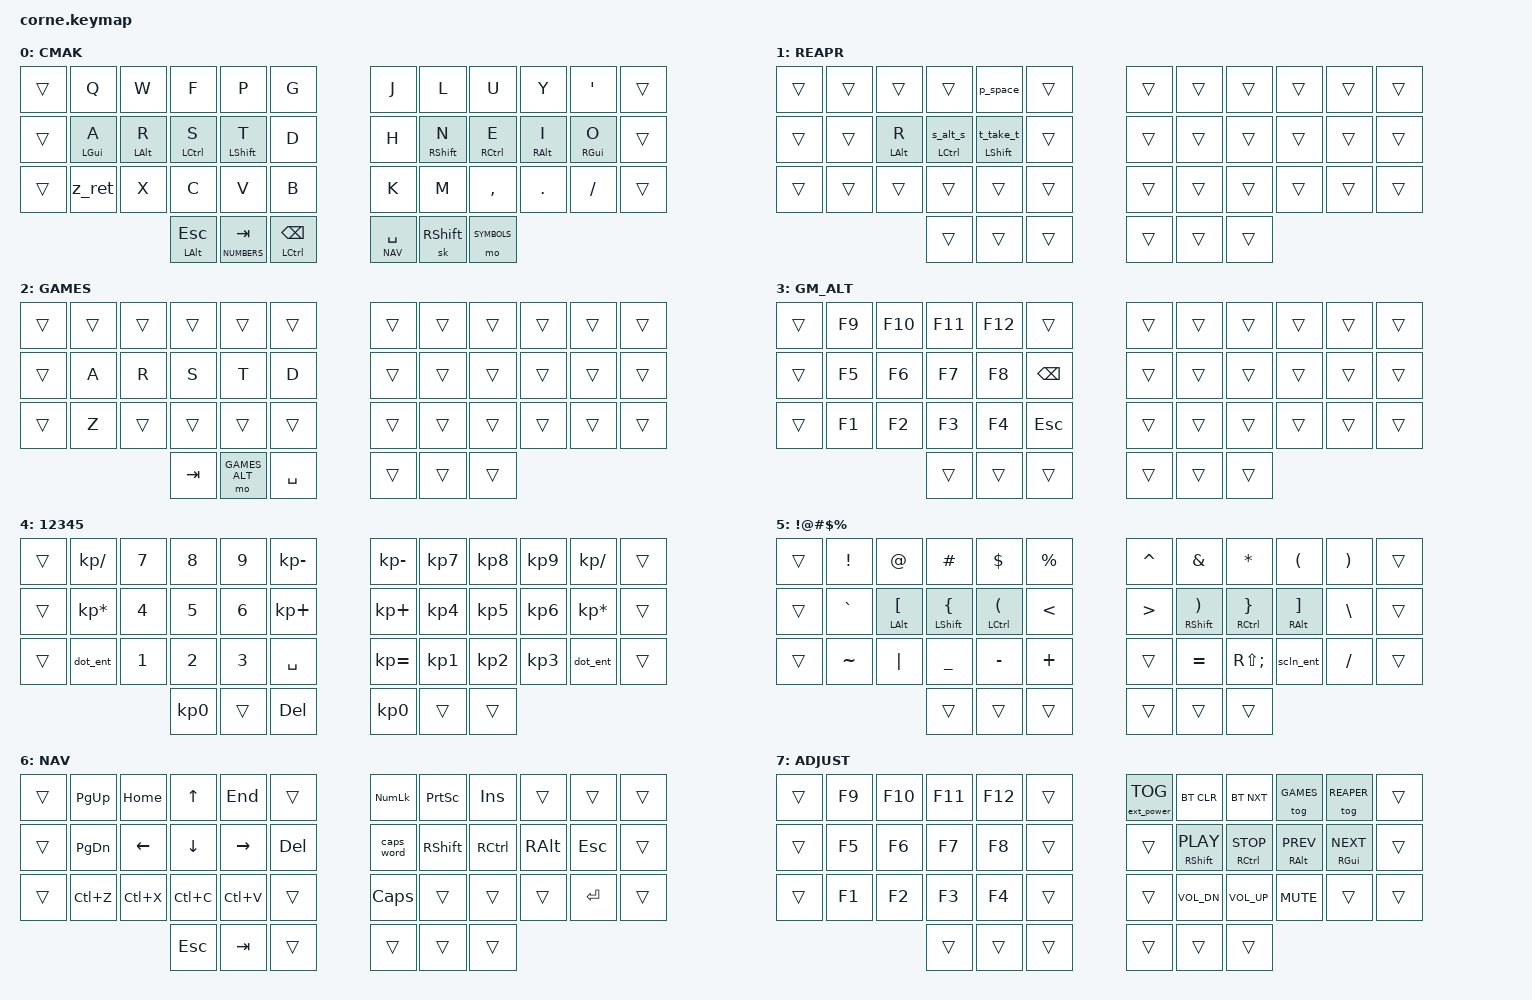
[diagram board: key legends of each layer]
/*
 * Copyright (c) 2020 The ZMK Contributors
 *
 * SPDX-License-Identifier: MIT
 */

#include <behaviors.dtsi>
#include <dt-bindings/zmk/keys.h>
#include <dt-bindings/zmk/bt.h>
#include <dt-bindings/zmk/ext_power.h>
#include "../../../zmk-nodefree-config/helper.h"
#include "../../../zmk-nodefree-config/keypos_def/keypos_42keys.h"   


#define COLEMAK   0
#define REAPER 1
#define GAMES 2
#define GAMES_ALT 3
#define NUMBERS  4
#define SYMBOLS  5 
#define NAV    6
#define ADJUST 7

#define QUICK_TAP_MS 175


&mt {
    flavor = "tap-preferred";
    tapping-term-ms = <220>;
    quick-tap-ms = <220>;              // repeat on tap-into-hold
    hold-trigger-key-positions = <0>;  // tap on interrupt
};
&sk {  // sticky-key config
    release-after-ms = <600>;  // release after 0.6s
    quick-release;             // no double capitalization when rolling keys
};

&sl {  // sticky-layer config
    ignore-modifiers;
};

&lt {  // layer-tap config
    flavor = "balanced";
    tapping-term-ms = <200>;
    quick-tap-ms = <QUICK_TAP_MS>;
};

&caps_word {  // mods deactivate caps-word, requires PR #1441
    /delete-property/ ignore-modifiers;
};


/* Homerow mods */

#define KEYS_L LT0 LT1 LT2 LT3 LT4 LT5 LM0 LM1 LM2 LM3 LM4 LM5 LB0 LB1 LB2 LB3 LB4 LB5  // left-hand keys
#define KEYS_R RT0 RT1 RT2 RT3 RT4 RT5 RM0 RM1 RM2 RM3 RM4 RM5 RB0 RB1 RB2 RB3 RB4 RB5  // right-hand keys
#define THUMBS LH2 LH1 LH0 RH0 RH1 RH2                                      // thumb keys

ZMK_BEHAVIOR(hml, hold_tap,  // left-hand HRMs
    flavor = "balanced";
    tapping-term-ms = <180>;
    quick-tap-ms = <QUICK_TAP_MS>;
    global-quick-tap-ms = <120>;        // requires PR #1387
    bindings = <&kp>, <&kp>;
    hold-trigger-key-positions = <KEYS_R THUMBS>;
    hold-trigger-on-release;            // requires PR #1423
)

ZMK_BEHAVIOR(hmr, hold_tap,  // right-hand HRMs
    flavor = "balanced";
    tapping-term-ms = <280>;
    quick-tap-ms = <QUICK_TAP_MS>;
    global-quick-tap-ms = <150>;        // requires PR #1387
    bindings = <&kp>, <&kp>;
    hold-trigger-key-positions = <KEYS_L THUMBS>;
    hold-trigger-on-release;            // requires PR #1423
)

ZMK_BEHAVIOR(ss_cw, mod_morph,
    bindings = <&sk RSHFT>, <&caps_word>;
    mods = <(MOD_LSFT)>;
)
/*
ZMK_BEHAVIOR(scln_dt, mod_morph,
    bindings = <&kp DOT>, <&kp LT>;
    mods = <(MOD_RSFT|MOD_LSFT)>;
)
ZMK_BEHAVIOR(cln_cm, mod_morph,
    bindings = <&kp COMMA>, <&kp GT>;
    mods = <(MOD_RSFT|MOD_LSFT)>;
)
*/

// use global-quick-tap-ms for combos (requires PR 1387)
#undef COMBO_HOOK
#define COMBO_HOOK global-quick-tap-ms = <75>;

#define COMBO_TERM_FAST 20
#define COMBO_TERM_SLOW 35
ZMK_COMBO(lgui,  &kp LGUI,      LH2 LH1,     COLEMAK, COMBO_TERM_FAST)
/* Brackets (horizontal right hand) */
ZMK_COMBO(dcbr,  &dbl_cbr,      RT0 RT1,     COLEMAK NUMBERS, COMBO_TERM_FAST)
ZMK_COMBO(dpar,  &dbl_paren,    RM0 RM1,     COLEMAK NUMBERS, COMBO_TERM_FAST)
ZMK_COMBO(dbkt,  &dbl_bkt,      RB0 RB1,     COLEMAK NUMBERS, COMBO_TERM_FAST)
//ZMK_COMBO(dlt,  &dbl_ltgt,      RM1 RM2,     COLEMAK NUMBERS, COMBO_TERM_FAST)

/* Other symbols (vertical combos) */
ZMK_COMBO(exclm, &kp EXCL,      LT4 LM4,     COLEMAK REAPER GAMES, COMBO_TERM_SLOW)
ZMK_COMBO(at,    &kp AT,        LT3 LM3,     COLEMAK REAPER GAMES, COMBO_TERM_SLOW)
ZMK_COMBO(hash,  &kp HASH,      LT2 LM2,     COLEMAK REAPER GAMES, COMBO_TERM_SLOW)
ZMK_COMBO(dllr,  &kp DLLR,      LT1 LM1,     COLEMAK REAPER GAMES, COMBO_TERM_SLOW)
ZMK_COMBO(prcnt, &kp PRCNT,     LT0 LM0,     COLEMAK REAPER GAMES, COMBO_TERM_SLOW)

ZMK_COMBO(caret, &kp CARET,     RT0 RM0,     COLEMAK REAPER GAMES, COMBO_TERM_SLOW)
ZMK_COMBO(amps,  &kp AMPS,      RT1 RM1,     COLEMAK REAPER GAMES, COMBO_TERM_SLOW)
ZMK_COMBO(star,  &kp STAR,      RT2 RM2,     COLEMAK REAPER GAMES, COMBO_TERM_SLOW)

ZMK_COMBO(tilde, &kp TILDE,     LM4 LB4,     COLEMAK REAPER GAMES, COMBO_TERM_SLOW)
ZMK_COMBO(grave, &kp GRAVE,     LM3 LB3,     COLEMAK REAPER GAMES, COMBO_TERM_SLOW)
ZMK_COMBO(under, &kp UNDER,     LM2 LB2,     COLEMAK REAPER GAMES, COMBO_TERM_SLOW)
ZMK_COMBO(minus, &kp MINUS,     LM1 LB1,     COLEMAK REAPER GAMES, COMBO_TERM_SLOW)
ZMK_COMBO(plus, &kp PLUS,       LM0 LB0,     COLEMAK REAPER GAMES, COMBO_TERM_SLOW)

ZMK_COMBO(pipe,  &kp PIPE,      RM0 RB0,     COLEMAK REAPER GAMES, COMBO_TERM_SLOW)
ZMK_COMBO(equal, &kp EQUAL,     RM1 RB1,     COLEMAK REAPER GAMES, COMBO_TERM_SLOW)
ZMK_COMBO(lt, &kp RS(SEMI),           RM2 RB2,     COLEMAK REAPER GAMES, COMBO_TERM_SLOW)
ZMK_COMBO(gt, &kp SEMI,         RM3 RB3,     COLEMAK REAPER GAMES, COMBO_TERM_SLOW)

ZMK_COMBO(squot,  &kp SQT, RM3 RT3,     COLEMAK REAPER GAMES, COMBO_TERM_SLOW)
ZMK_COMBO(dquot,  &kp RS(SQT), RM4 RT4,     COLEMAK REAPER GAMES, COMBO_TERM_SLOW)
ZMK_COMBO(scln_ent,  &scln_ret, RM4 RB4,     COLEMAK REAPER GAMES, COMBO_TERM_SLOW)
ZMK_COMBO(nav_ret,  &kp RET, RH0 RB4,     COLEMAK NUMBERS SYMBOLS NAV REAPER GAMES, COMBO_TERM_SLOW)
ZMK_COMBO(nav_ret2,  &kp RET, RH0 RM4,    COLEMAK NUMBERS SYMBOLS NAV REAPER GAMES, COMBO_TERM_SLOW)
ZMK_COMBO(bkspc_ret,  &kp RET, LH0 LM4,    COLEMAK REAPER GAMES, COMBO_TERM_SLOW)
ZMK_COMBO(rh_adj,  &mo ADJUST, RH0 RH1,    COLEMAK REAPER GAMES NAV, COMBO_TERM_FAST)
ZMK_COMBO(lh_del,  &kp DEL, LH0 LH1,    COLEMAK NAV REAPER GAMES, COMBO_TERM_FAST)
ZMK_COMBO(cw_trigger,  &caps_word, RH1 RM1,    COLEMAK REAPER GAMES, COMBO_TERM_FAST)

/ {
    behaviors {

        hhm: hold_homerow_mods {
            compatible = "zmk,behavior-hold-tap";
            label = "HOLD_HOMEROW_MODS";
            #binding-cells = <2>;
            tapping-term-ms = <200>;
            quick_tap_ms = <150>;
            flavor = "hold-preferred";
            bindings = <&kp>, <&kp>;
        };
        
        TAB_NUMBERS: tap_dance_0 {
            compatible = "zmk,behavior-tap-dance";
            label = "TAP_DANCE_0";
            #binding-cells = <0>;
            tapping-term-ms = <200>;
            bindings = <&mo NUMBERS>, <&kp TAB>;
        };
        slash_ret: tap_dance_1 {
            compatible = "zmk,behavior-tap-dance";
            label = "TAP_DANCE_1";
            #binding-cells = <0>;
            tapping-term-ms = <200>;
            bindings = <&kp FSLH>, <&kp RET>;
        };
        
        p_space: tap_dance_4 {
            compatible = "zmk,behavior-tap-dance";
            label = "TAP_DANCE_4";
            #binding-cells = <0>;
            tapping-term-ms = <200>;
            bindings = <&kp P>, <&kp SPACE>;
        };
        s_alt_s: tap_dance_5 {
            compatible = "zmk,behavior-tap-dance";
            label = "tap_dance_5";
            #binding-cells = <0>;
            tapping-term-ms = <200>;
            bindings = <&kp S>, <&s_alt_s_macro>;
        };
        
        t_take_t: tap_dance_6 {
            compatible = "zmk,behavior-tap-dance";
            label = "tap_dance_6";
            #binding-cells = <0>;
            tapping-term-ms = <200>;
            bindings = <&kp T>, <&t_take_macro>;
        };
        hmtake: hold_macro_mods1 {
            compatible = "zmk,behavior-hold-tap";
            label = "hold_macro_mods1";
            #binding-cells = <2>;
            tapping-term-ms = <200>;
            quick_tap_ms = <150>;
            flavor = "hold-preferred";
            bindings = <&kp>, <&t_take_t>;
        };
        htms: hold_macro_mods2 {
            compatible = "zmk,behavior-hold-tap";
            label = "hold_macro_mods2";
            #binding-cells = <2>;
            tapping-term-ms = <200>;
            quick_tap_ms = <150>;
            flavor = "hold-preferred";
            bindings = <&kp>, <&s_alt_s>;
        };
         
        dot_ent: tap_dance_7 {
            compatible = "zmk,behavior-tap-dance";
            label = "TAP_DANCE_7";
            #binding-cells = <0>;
            tapping-term-ms = <200>;
            bindings = <&kp DOT>, <&kp ENTER>;
        };
        tm: thumb_mods {
            compatible = "zmk,behavior-hold-tap";
            label = "HOMEROW_MODS";
            #binding-cells = <2>;
            tapping-term-ms = <150>;
            quick-tap-ms = <150>;
            flavor = "tap-preferred";
            bindings = <&mo>, <&kp>;
        };
        scln_ent: tap_dance_8 {
            compatible = "zmk,behavior-tap-dance";
            label = "TAP_DANCE_8";
            #binding-cells = <0>;
            tapping-term-ms = <200>;
            bindings = <&kp SEMI>, <&scln_ret>;
        };
        z_ret: tap_dance_9 {
            compatible = "zmk,behavior-tap-dance";
            label = "TAP_DANCE_9";
            #binding-cells = <0>;
            tapping-term-ms = <200>;
            bindings = <&kp Z>, <&kp RET>;
        };
    };

    macros {
        scln_ret: scln_ret {
            label = "ZM_scln_ret";
            compatible = "zmk,behavior-macro";
            #binding-cells = <0>;
            bindings
                = <&macro_tap &kp SEMI &kp RET>;
        };
        t_take_macro: t_take_macro {
            label = "ZM_t_take_macro";
            compatible = "zmk,behavior-macro";
            #binding-cells = <0>;
            bindings
                = <&macro_press &kp LSHFT>,
                <&macro_press &kp LALT>,
                <&macro_tap &kp T>,
                <&macro_release &kp LALT>,
                <&macro_release &kp LSHFT>
                ;
        };
        s_alt_s_macro: s_alt_s_macro {
            label = "ZM_s_alt_s_macro";
            compatible = "zmk,behavior-macro";
            #binding-cells = <0>;
            bindings
                = 
                <&macro_press &kp LALT>,
                <&macro_tap &kp S>,
                <&macro_release &kp LALT>
                ;
        };
        dbl_paren: dbl_paren {
            label = "ZM_dbl_paren_macro";
            compatible = "zmk,behavior-macro";
            #binding-cells = <0>;
            bindings
                = 
                <&macro_tap &kp LPAR &kp RPAR &kp LEFT>
                ;
        };
        dbl_cbr: dbl_cbr {
            label = "ZM_dbl_cbr_macro";
            compatible = "zmk,behavior-macro";
            #binding-cells = <0>;
            bindings
                = 
                <&macro_tap &kp LBRC &kp RBRC &kp LEFT>
                ;
        };
        dbl_bkt: dbl_bkt {
            label = "ZM_dbl_bkt_macro";
            compatible = "zmk,behavior-macro";
            #binding-cells = <0>;
            bindings
                = 
                <&macro_tap &kp LBKT &kp RBKT &kp LEFT>
                
                ;
        };
        dbl_ltgt: dbl_ltgt {
            label = "ZM_dbl_ltgt_macro";
            compatible = "zmk,behavior-macro";
            #binding-cells = <0>;
            bindings
                = 
                <&macro_tap &kp LT &kp GT &kp LEFT>
                ;
        };
    };


/*
    conditional_layers {
        compatible = "zmk,conditional-layers";
        tri_layer {
            if-layers = <NUMBERS SYMBOLS>;
            then-layer = <ADJUST>;
        };
    };
*/
        keymap {
                compatible = "zmk,keymap";

                colemak_layer {
// ┌───────────────────────────────────────────────────────────┐
label= "CMAK"                                                  ;
// └───────────────────────────────────────────────────────────┘                                                 ;

   bindings = <
 //╷         ╷         ╷         ╷         ╷         ╷         ╷         ╷╷         ╷         ╷         ╷         ╷         ╷         ╷         ╷
    &trans &kp Q     &kp W     &kp F     &kp P     &kp G                &kp J     &kp L     &kp U     &kp Y     &kp SQT   &trans   
    &trans &hml LGUI A &hml LALT  R   &hml LCTL S  &hml LSHFT T &kp D   &kp H  &hmr RSHFT N &hmr RCTL E  &hmr RALT I  &hmr RGUI O   &trans   
    &trans &z_ret     &kp X     &kp C     &kp V     &kp B                &kp K     &kp M   &kp COMMA  &kp DOT  &kp FSLH  &trans 
                        &hhm LALT ESC   &lt NUMBERS TAB   &hhm LCTRL BKSP      &tm NAV SPC  &sk RSHFT &mo SYMBOLS
                        >;
                };
// ▄▄▄▄▄▄▄▄▄▄▄▄▄▄▄▄▄▄▄▄▄▄▄▄▄▄▄▄▄▄▄▄▄▄▄▄▄▄▄▄▄▄▄▄▄▄▄▄▄▄▄▄▄▄▄▄▄▄▄▄▄▄▄▄▄▄▄▄▄▄▄▄▄▄▄▄▄▄▄▄▄▄▄▄▄▄▄▄▄▄▄▄▄▄▄▄▄▄▄▄▄▄▄▄▄▄▄▄▄▄▄▄▄▄▄▄▄▄▄▄▄▄▄▄▄▄▄▄▄▄▄▄▄▄▄▄▄▄▄▄▄▄
                reaper_layer {
// ┌───────────────────────────────────────────────────────────┐
label= "REAPR"                                                  ;
// └───────────────────────────────────────────────────────────┘

 bindings = <
 //╷         ╷         ╷         ╷         ╷         ╷         ╷         ╷╷         ╷         ╷         ╷         ╷         ╷         ╷         ╷
&trans &trans   &trans  &trans    &p_space   &trans                         &trans     &trans     &trans     &trans     &trans &trans 
&trans &trans   &hhm LALT R  &htms LCTL 0  &hmtake LSHFT 0  &trans                         &trans    &trans     &trans     &trans     &trans &trans 
&trans &trans   &trans  &trans    &trans     &trans                         &trans     &trans     &trans &trans   &trans &trans 
                            &trans   &trans   &trans                        &trans   &trans &trans    
                        >;
                };
// ▄▄▄▄▄▄▄▄▄▄▄▄▄▄▄▄▄▄▄▄▄▄▄▄▄▄▄▄▄▄▄▄▄▄▄▄▄▄▄▄▄▄▄▄▄▄▄▄▄▄▄▄▄▄▄▄▄▄▄▄▄▄▄▄▄▄▄▄▄▄▄▄▄▄▄▄▄▄▄▄▄▄▄▄▄▄▄▄▄▄▄▄▄▄▄▄▄▄▄▄▄▄▄▄▄▄▄▄▄▄▄▄▄▄▄▄▄▄▄▄▄▄▄▄▄▄▄▄▄▄▄▄▄▄▄▄▄▄▄▄▄▄

                games_layer {
// ┌───────────────────────────────────────────────────────────┐
label= "GAMES"                                                  ;
// └───────────────────────────────────────────────────────────┘

 bindings = <
 //╷         ╷         ╷         ╷         ╷         ╷         ╷         ╷╷         ╷         ╷         ╷         ╷         ╷         ╷         ╷
&trans &trans   &trans   &trans    &trans    &trans                    &trans     &trans     &trans     &trans     &trans &trans 
&trans &kp A   &kp R    &kp S       &kp T    &kp D                      &trans    &trans     &trans     &trans     &trans &trans 
&trans &kp Z   &trans  &trans     &trans     &trans                     &trans     &trans     &trans &trans   &trans &trans 
                            &kp TAB   &mo GAMES_ALT   &kp SPACE                 &trans   &trans &trans    
                        >;
                };
// ▄▄▄▄▄▄▄▄▄▄▄▄▄▄▄▄▄▄▄▄▄▄▄▄▄▄▄▄▄▄▄▄▄▄▄▄▄▄▄▄▄▄▄▄▄▄▄▄▄▄▄▄▄▄▄▄▄▄▄▄▄▄▄▄▄▄▄▄▄▄▄▄▄▄▄▄▄▄▄▄▄▄▄▄▄▄▄▄▄▄▄▄▄▄▄▄▄▄▄▄▄▄▄▄▄▄▄▄▄▄▄▄▄▄▄▄▄▄▄▄▄▄▄▄▄▄▄▄▄▄▄▄▄▄▄▄▄▄▄▄▄▄
                games_alt_layer {
// ┌───────────────────────────────────────────────────────────┐
label= "GM_ALT"                                                  ;
// └───────────────────────────────────────────────────────────┘

 bindings = <
 //╷         ╷         ╷         ╷         ╷         ╷         ╷         ╷╷         ╷         ╷         ╷         ╷         ╷         ╷         ╷
&trans &kp F9      &kp F10   &kp F11   &kp F12     &trans                     &trans     &trans     &trans     &trans     &trans &trans 
&trans &kp F5      &kp F6   &kp F7   &kp F8     &kp BKSP                        &trans    &trans     &trans     &trans     &trans &trans 
&trans &kp F1    &kp F2   &kp F3   &kp F4     &kp ESC                     &trans     &trans     &trans &trans   &trans &trans 
                            &trans   &trans   &trans                 &trans   &trans &trans    
                        >;
                };
// ▄▄▄▄▄▄▄▄▄▄▄▄▄▄▄▄▄▄▄▄▄▄▄▄▄▄▄▄▄▄▄▄▄▄▄▄▄▄▄▄▄▄▄▄▄▄▄▄▄▄▄▄▄▄▄▄▄▄▄▄▄▄▄▄▄▄▄▄▄▄▄▄▄▄▄▄▄▄▄▄▄▄▄▄▄▄▄▄▄▄▄▄▄▄▄▄▄▄▄▄▄▄▄▄▄▄▄▄▄▄▄▄▄▄▄▄▄▄▄▄▄▄▄▄▄▄▄▄▄▄▄▄▄▄▄▄▄▄▄▄▄▄
                number_layer {
// ┌───────────────────────────────────────────────────────────┐
label= "12345"                                                 ;
// └───────────────────────────────────────────────────────────┘
 bindings = <
 //╷         ╷         ╷         ╷         ╷         ╷         ╷         ╷╷         ╷         ╷         ╷         ╷         ╷         ╷         ╷
 &trans   &kp KP_DIVIDE &kp N7 &kp N8 &kp N9  &kp KP_MINUS       &kp KP_MINUS  &kp KP_N7 &kp KP_N8 &kp KP_N9 &kp KP_DIVIDE &trans 
 &trans   &kp KP_MULTIPLY    &kp N4 &kp N5 &kp N6 &kp KP_PLUS    &kp KP_PLUS  &kp KP_N4 &kp KP_N5 &kp KP_N6 &kp KP_MULTIPLY &trans 
 &trans   &dot_ent   &kp N1 &kp N2 &kp N3 &kp SPACE            &kp KP_EQUAL  &kp KP_N1 &kp KP_N2 &kp KP_N3 &dot_ent &trans 
                                  &kp KP_N0  &trans &kp DEL          &kp KP_N0 &trans &trans  
                        >;
                };

// ▄▄▄▄▄▄▄▄▄▄▄▄▄▄▄▄▄▄▄▄▄▄▄▄▄▄▄▄▄▄▄▄▄▄▄▄▄▄▄▄▄▄▄▄▄▄▄▄▄▄▄▄▄▄▄▄▄▄▄▄▄▄▄▄▄▄▄▄▄▄▄▄▄▄▄▄▄▄▄▄▄▄▄▄▄▄▄▄▄▄▄▄▄▄▄▄▄▄▄▄▄▄▄▄▄▄▄▄▄▄▄▄▄▄▄▄▄▄▄▄▄▄▄▄▄


                symbol_layer {
// ┌───────────────────────────────────────────────────────────┐
label= "!@#$%"                                                 ;
// └───────────────────────────────────────────────────────────┘
 bindings = <
 //╷         ╷         ╷         ╷         ╷         ╷         ╷         ╷╷         ╷         ╷         ╷         ╷         ╷         ╷         ╷
 &trans     &kp EXCL   &kp AT   &kp HASH  &kp DLLR  &kp PRCNT                      &kp CARET &kp AMPS  &kp STAR  &kp LPAR    &kp RPAR      &trans 
 &trans    &kp GRAVE   &hml LALT LBKT &hml LSHFT LBRC &hml LCTL LPRN  &kp LT  &kp GT &hmr RSHFT RPRN  &hmr RCTL RBRC  &hmr RALT RBKT   &kp BSLH  &trans 
 &trans    &kp TILDE  &kp PIPE &kp UNDER  &kp MINUS  &kp PLUS                  &trans  &kp EQUAL &kp RS(SEMI)  &scln_ent  &kp FSLH    &trans 
                                   &trans   &trans   &trans                         &trans    &trans    &trans  
                        >;
                };

// ▄▄▄▄▄▄▄▄▄▄▄▄▄▄▄▄▄▄▄▄▄▄▄▄▄▄▄▄▄▄▄▄▄▄▄▄▄▄▄▄▄▄▄▄▄▄▄▄▄▄▄▄▄▄▄▄▄▄▄▄▄▄▄▄▄▄▄▄▄▄▄▄▄▄▄▄▄▄▄▄▄▄▄▄▄▄▄▄▄▄▄▄▄▄▄▄▄▄▄▄▄▄▄▄▄▄▄▄▄▄▄▄▄▄▄▄▄▄▄▄▄▄▄▄▄

                nav_layer {
// ┌───────────────────────────────────────────────────────────┐
label= "NAV"                                                 ;
// └───────────────────────────────────────────────────────────┘
 bindings = <
 //╷         ╷         ╷         ╷         ╷         ╷         ╷         ╷╷         ╷         ╷         ╷         ╷         ╷         ╷         ╷
   &trans  &kp PG_UP    &kp HOME    &kp UP    &kp END    &trans                         &kp KP_NUM    &kp PSCRN    &kp INSERT &trans    &trans     &trans 
   &trans  &kp PG_DN    &kp LEFT &kp DOWN  &kp RIGHT    &kp DEL                         &caps_word    &kp RSHFT  &kp RCTL    &kp RALT    &kp ESC   &trans 
   &trans     &kp LC(Z)  &kp LC(X)  &kp LC(C)  &kp LC(V)   &trans                     &kp CAPS    &trans    &trans    &trans    &kp RET    &trans 
                                  &kp ESC &kp TAB   &trans                           &trans    &trans    &trans  
                        >;
                };

// ▄▄▄▄▄▄▄▄▄▄▄▄▄▄▄▄▄▄▄▄▄▄▄▄▄▄▄▄▄▄▄▄▄▄▄▄▄▄▄▄▄▄▄▄▄▄▄▄▄▄▄▄▄▄▄▄▄▄▄▄▄▄▄▄▄▄▄▄▄▄▄▄▄▄▄▄▄▄▄▄▄▄▄▄▄▄▄▄▄▄▄▄▄▄▄▄▄  ▄▄▄▄▄▄▄▄▄▄▄▄▄▄▄▄▄▄▄▄▄▄▄▄▄▄▄▄
                adjust_layer {
// ┌───────────────────────────────────────────────────────────┐
label= "ADJUST"                                                ;
// └───────────────────────────────────────────────────────────┘
 bindings = <
 //╷         ╷         ╷         ╷         ╷         ╷         ╷         ╷╷         ╷         ╷         ╷         ╷         ╷         ╷         ╷
&trans &kp F9      &kp F10   &kp F11   &kp F12     &trans                   &ext_power EP_TOG    &bt BT_CLR &bt BT_NXT &tog GAMES  &tog REAPER &trans 
&trans &kp F5      &kp F6   &kp F7   &kp F8     &trans                      &trans    &hmr RSHFT C_PLAY &hmr RCTL C_STOP &hmr RALT C_PREV  &hmr RGUI C_NEXT  &trans  
&trans &kp F1    &kp F2   &kp F3   &kp F4     &trans                        &trans    &kp C_VOL_DN &kp C_VOL_UP   &kp C_MUTE &trans    &trans 
                                         &trans    &trans    &trans                &trans    &trans    &trans    
                        >;
                };
        };
};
